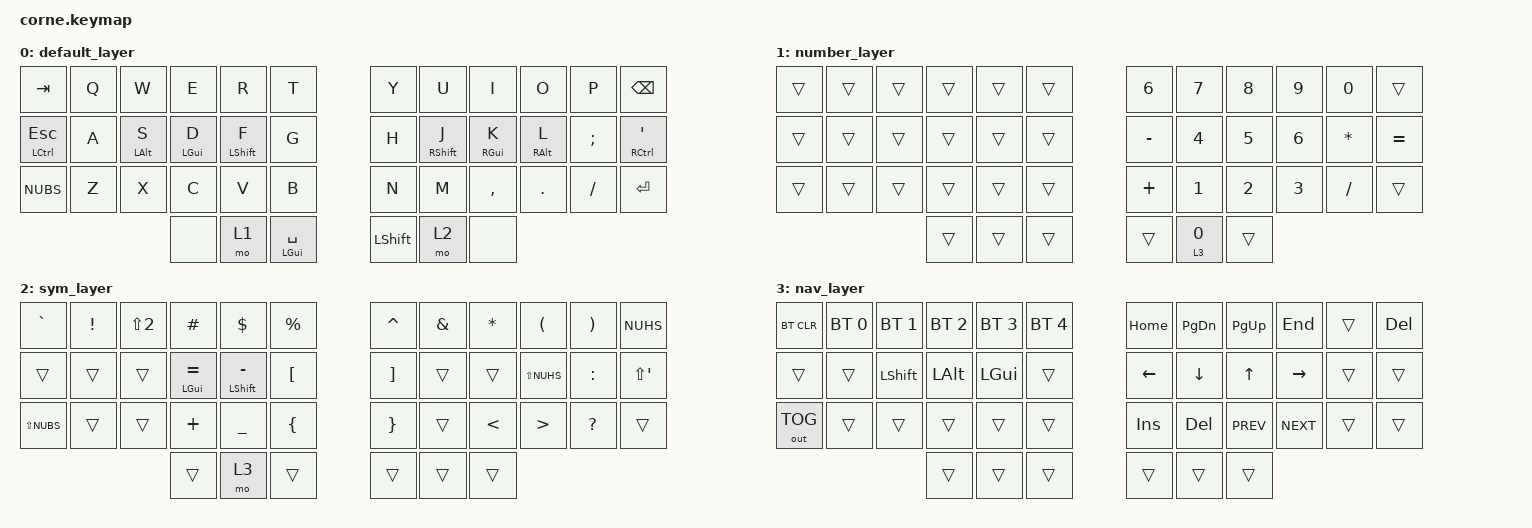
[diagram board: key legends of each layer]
/*
 * Copyright (c) 2020 The ZMK Contributors
 *
 * SPDX-License-Identifier: MIT
 */

#include <behaviors.dtsi>
#include <dt-bindings/zmk/bt.h>
#include <dt-bindings/zmk/keys.h>
#include <dt-bindings/zmk/outputs.h>

#define DEFAULT 0
#define LOWER 1
#define RAISE 2

// 0   1   2   3   4   5           6   7   8   9   10  11
// 12  13  14  15  16  17          18  19  20  21  22  23
// 24  25  26  27  28  29          30  31  32  33  34  35
//                 36  37  38  39  40  41  
#define LEFT_KEYS 0 1 2 3 4 5 12 13 14 15 16 17 24 25 26 27 28 29
#define RIGHT_KEYS 6 7 8 9 10 11 18 19 20 21 22 23 30 31 32 33 34 35

&sk {
    release-after-ms = <2000>;
    quick-release;
};

&mt {
    flavor = "balanced";
    quick-tap-ms = <200>;
};

/ {
    behaviours {
        mthp: mod_tap_hold_preferred {
            compatible = "zmk,behavior-hold-tap";
            #binding-cells = <2>;
            flavor = "hold-preferred";
            tapping-term-ms = <200>;
            require-prior-idle-ms = <100>;
            bindings = <&kp>, <&kp>;
        };
        mttp: mod_tap_tap_preferred {
            compatible = "zmk,behavior-hold-tap";
            #binding-cells = <2>;
            flavor = "tap-preferred";
            tapping-term-ms = <200>;
            require-prior-idle-ms = <100>;
            bindings = <&kp>, <&kp>;
        };
        lhrm: left_homerow_mods {
            compatible = "zmk,behavior-hold-tap";
            label = "HOMEROW_MODS_LEFT";
            #binding-cells = <2>;
            flavor = "balanced";
            tapping-term-ms = <200>;
            hold-trigger-key-positions = <RIGHT_KEYS>;
            hold-trigger-on-release;
            bindings = <&kp>, <&kp>;
        };

        rhrm: right_homerow_mods {
            compatible = "zmk,behavior-hold-tap";
            label = "HOMEROW_MODS_RIGHT";
            #binding-cells = <2>;
            flavor = "balanced";
            tapping-term-ms = <200>;
            hold-trigger-key-positions = <LEFT_KEYS>;
            hold-trigger-on-release;
            bindings = <&kp>, <&kp>;
        };
    };

    behaviors {
    };

    keymap {
        compatible = "zmk,keymap";

        default_layer {
            // ----------------------------------------------------------------------------------------------------------------
            // |  TAB  |  Q  |   W   |  E   |  R   |  T    |                   |  Y    |  U    |  I    |  O   |   P   | BSPC  |
            // |  CAPS |  A  |   S   |  D   |  F   |  G    |                   |  H    |  J    |  K    |  L   |   ;   |   '   |
            // |   \   |  Z  |   X   |  C   |  V   |  B    |                   |  N    |  M    |  ,    |  .   |   /   | ENTER |
            //                              | GUI  | LOWER |  SPACE |  | SHIFT | RAISE | ALT   |

            bindings = <
&kp TAB          &kp Q  &kp W         &kp E         &kp R          &kp T               &kp Y      &kp U          &kp I         &kp O         &kp P     &kp BSPC
&mthp LCTRL ESC  &kp A  &lhrm LALT S  &lhrm LGUI D  &lhrm LSHFT F  &kp G               &kp H      &rhrm RSHFT J  &rhrm RGUI K  &rhrm RALT L  &kp SEMI  &mt RCTRL SQT
&kp NUBS         &kp Z  &kp X         &kp C         &kp V          &kp B               &kp N      &kp M          &kp COMMA     &kp DOT       &kp FSLH  &kp ENTER
                                      &none         &mo 1          &mttp LGUI SPACE    &kp LSHFT  &mo 2          &none
            >;
        };

        number_layer {
            // ------------------------------------------------------------------------------------------------------------
            // |    `  |  1  |  2  |   3  |   4  |  5   |                   |  6   |   7   |   8   |  9   |   0   |   #   |
            // |       |     |     |   =  |   -  |  [   |                   |  ]   |       |       |      |   :   |   @   |
            // |   |   |     |     |   +  |   _  |  {   |                   |  }   |       |   <   |   >  |   ?   |       |
            //                            |      |      |        |  |       |      |       |

            bindings = <
&trans  &trans  &trans  &trans  &trans  &trans    &kp N6     &kp N7    &kp N8  &kp N9        &kp N0        &trans
&trans  &trans  &trans  &trans  &trans  &trans    &kp MINUS  &kp N4    &kp N5  &kp NUMBER_6  &kp ASTERISK  &kp EQUAL
&trans  &trans  &trans  &trans  &trans  &trans    &kp PLUS   &kp N1    &kp N2  &kp N3        &kp SLASH     &trans
                        &trans  &trans  &trans    &trans     &lt 3 N0  &trans
            >;
        };

        sym_layer {
            bindings = <
&kp GRAVE     &kp EXCLAMATION  &kp LS(N2)  &kp POUND       &kp DOLLAR       &kp PERCENT         &kp CARET          &kp AMPS  &kp ASTERISK   &kp LEFT_PARENTHESIS  &kp RIGHT_PARENTHESIS  &kp NUHS
&trans        &trans           &trans      &mt LGUI EQUAL  &mt LSHFT MINUS  &kp LEFT_BRACKET    &kp RIGHT_BRACKET  &trans    &trans         &kp LS(NUHS)          &kp COLON              &kp LS(SQT)
&kp LS(NUBS)  &trans           &trans      &kp PLUS        &kp UNDER        &kp LEFT_BRACE      &kp RIGHT_BRACE    &trans    &kp LESS_THAN  &kp GREATER_THAN      &kp QUESTION           &trans
                                           &trans          &mo 3            &trans              &trans             &trans    &trans
            >;
        };

        nav_layer {
            // --------------------------------------------------------------------------------------------------------------
            // | BT CLR | BT 0 | BT 1  | BT 2  | BT 3  | BT 4   |                | HOME | PGDN  | PGUP  | END  |       |  DEL  |
            // |        |      | SHIFT | ALT   |  GUI  |        |                | <-   |   v   |   ^   |  ->  |       |       |
            // |        |      |       |       |       |        |                | INS  |  DEL  | PREV  | NEXT |       |       |
            //                                 |       |        |      |  |      |      |       |

            bindings = <
&bt BT_CLR    &bt BT_SEL 0  &bt BT_SEL 1  &bt BT_SEL 2  &bt BT_SEL 3  &bt BT_SEL 4  &kp HOME  &kp PG_DN  &kp PG_UP   &kp END     &trans  &kp DEL
&trans        &trans        &kp LSHFT     &kp LALT      &kp LGUI      &trans        &kp LEFT  &kp DOWN   &kp UP      &kp RIGHT   &trans  &trans
&out OUT_TOG  &trans        &trans        &trans        &trans        &trans        &kp INS   &kp DEL    &kp C_PREV  &kp C_NEXT  &trans  &trans
                                          &trans        &trans        &trans        &trans    &trans     &trans
            >;
        };
    };
};
